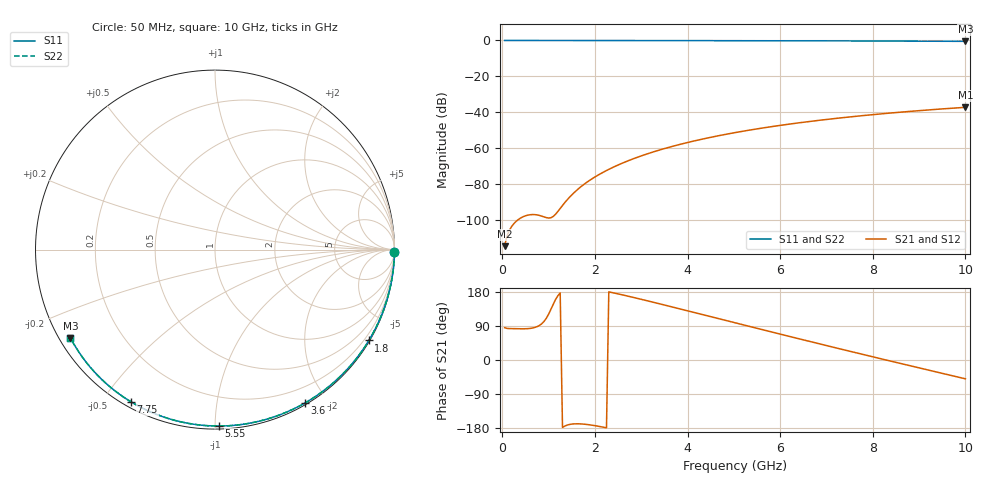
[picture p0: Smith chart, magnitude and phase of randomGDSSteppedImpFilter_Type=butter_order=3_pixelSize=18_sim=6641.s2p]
! freq	dB(S11)	phase(S11)	dB(S12)	phase(S12)
!  dB(S21)	phase(S21)	dB(S22)	phase(S22)
!S-par simulation data
#  GHz  S  DB  R 50
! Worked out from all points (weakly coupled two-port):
!   200 points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, 50 MHz to 10 GHz, reference 50 ohm
!   highest |S21| = -37.17 dB at 10 GHz (marker M1); lowest = -114.4 dB at 50 MHz (marker M2)
!   lowest |S11| = -0.5 dB at 10 GHz (marker M3), VSWR 34.59, Z = 1.56 - j14 ohm
!   |S11| at or under -10 dB: nowhere
!   |S22| runs from -0.5 to 0.0 dB; largest |S21 - S12| = 0
!   S11 on the Smith chart (normalised r, x): 50 MHz: open; 1.8 GHz: 0.03, -3.66; 3.6 GHz: 0.02, -1.75; 5.55 GHz: 0.02, -1.02; 7.75 GHz: 0.02, -0.59; 10 GHz: 0.03, -0.28
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0.05  -0.00 -0.9  -114.36 85.3  -114.36 85.3  -0.00 -0.9
0.45  -0.01 -7.8  -97.98 82.3  -97.98 82.3  -0.01 -7.8
0.9  -0.02 -15.4  -98.06 101.6  -98.06 101.6  -0.02 -15.4
1.3  -0.03 -22.2  -91.71 -177.9  -91.71 -177.9  -0.03 -22.2
1.75  -0.04 -29.7  -80.25 -169.1  -80.25 -169.1  -0.04 -29.7
1.8  -0.04 -30.5  -79.30 -169.7  -79.30 -169.7  -0.04 -30.5
1.95  -0.04 -33.0  -76.69 -172.2  -76.69 -172.2  -0.04 -33.0
2.1  -0.05 -35.5  -74.38 -175.4  -74.38 -175.4  -0.05 -35.5
2.3  -0.05 -38.8  -71.65 179.8  -71.65 179.8  -0.05 -38.8
2.5  -0.05 -42.0  -69.23 174.5  -69.23 174.5  -0.05 -42.0
2.9  -0.06 -48.5  -65.09 163.1  -65.09 163.1  -0.06 -48.5
3.4  -0.08 -56.4  -60.86 148.2  -60.86 148.2  -0.08 -56.4
3.6  -0.08 -59.6  -59.38 142.1  -59.38 142.1  -0.08 -59.6
4.3  -0.10 -70.3  -54.95 120.6  -54.95 120.6  -0.10 -70.3
5.05  -0.13 -81.4  -51.11 97.4  -51.11 97.4  -0.13 -81.4
5.55  -0.15 -88.7  -48.95 82.1  -48.95 82.1  -0.15 -88.7
6.1  -0.17 -96.4  -46.85 65.3  -46.85 65.3  -0.17 -96.4
6.7  -0.20 -104.7  -44.83 47.1  -44.83 47.1  -0.20 -104.8
7.75  -0.28 -118.9  -41.86 15.8  -41.86 15.8  -0.28 -118.9
8.35  -0.33 -126.9  -40.41 -1.9  -40.41 -1.9  -0.33 -126.9
9.2  -0.41 -138.1  -38.62 -26.6  -38.62 -26.6  -0.41 -138.1
10  -0.50 -148.6  -37.17 -49.7  -37.17 -49.7  -0.50 -148.6
